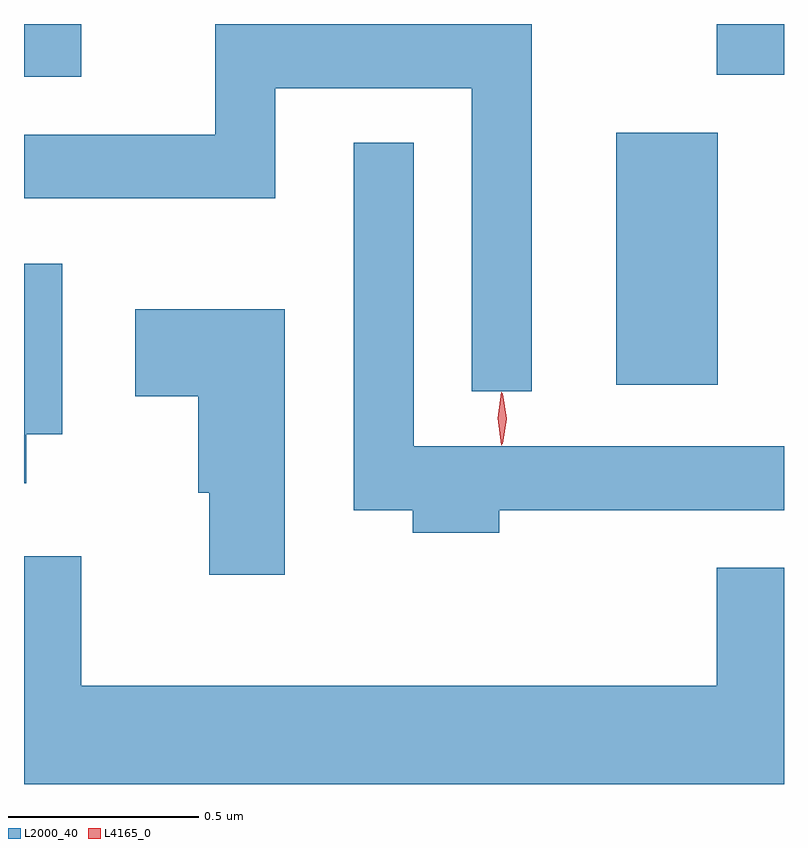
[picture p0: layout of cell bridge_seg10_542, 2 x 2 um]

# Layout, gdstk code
import gdstk
lib = gdstk.Library(unit=1e-6, precision=1e-09)
def R(c, l, rs):  # rectangles x0, y0, x1, y1
    for r in rs: c.add(gdstk.rectangle(r[:2], r[2:], *l))
def P(c, l, *ps):  # polygons
    for p in ps: c.add(gdstk.Polygon(p, *l))
L2000_40 = (2000, 40)
L4165_0 = (4165, 0)

bridge_seg10_542 = lib.new_cell('bridge_seg10_542')
R(bridge_seg10_542, L2000_40, [(909.376,2174.916,909.644,2175.579), (907.818,2175.726,907.969,2175.865), (909.641,2175.731,909.818,2175.865)])
P(bridge_seg10_542, L2000_40, [(909.154,2175.864),(908.321,2175.864),(908.321,2175.574),(907.818,2175.574),(907.818,2175.406),(908.479,2175.406),(908.479,2175.696),(908.996,2175.696),(908.996,2174.898),(909.154,2174.898)],
  [(909.069,2174.586),(909.818,2174.586),(909.818,2174.754),(908.844,2174.754),(908.844,2175.553),(908.686,2175.553),(908.686,2174.586),(908.841,2174.586),(908.841,2174.526),(909.069,2174.526)],
  [(907.824,2174.786),(907.919,2174.786),(907.919,2175.234),(907.818,2175.234),(907.818,2174.656),(907.824,2174.656)],
  [(908.504,2175.114),(908.111,2175.114),(908.111,2174.886),(908.276,2174.886),(908.276,2174.631),(908.306,2174.631),(908.306,2174.416),(908.504,2174.416)],
  [(909.818,2174.434),(909.641,2174.434),(909.641,2174.124),(907.969,2174.124),(907.969,2174.464),(907.818,2174.464),(907.818,2173.865),(909.818,2173.865)])
P(bridge_seg10_542, L4165_0, [(909.075,2174.757),(909.074,2174.758),(909.065,2174.827),(909.074,2174.896),(909.075,2174.896),(909.075,2174.896),(909.085,2174.827),(909.075,2174.758)],
  [(909.077,2174.76),(909.068,2174.826),(909.077,2174.892),(909.078,2174.893),(909.078,2174.892),(909.088,2174.826),(909.078,2174.76),(909.078,2174.76)])

lib.write_gds('bridge_seg10_542.gds')
